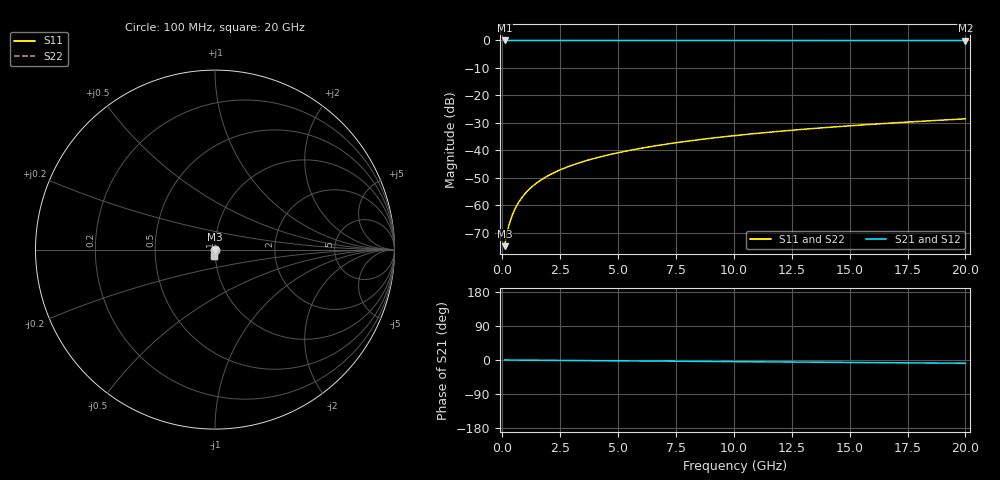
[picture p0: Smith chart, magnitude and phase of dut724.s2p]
! Touchstone file exported from HFSS 2026.1.0
!  File:  C:/ffzhzh/LocalFiles/Ansys_Project_Files/temp_train_TSV_724_1783182363_18472.aedt
!  Generated:  12:27:24 AM Jul  5, 2026
!  Design:  TSV
!  Project:  temp_train_TSV_724_1783182363_18472
! Variables:
!  h_bsmrdl = 2um
!  h_ox = 20um
!  h_rdl = 5um
!  h_sub = 86.61um
!  h_tmrdl = 5um
!  h_tsv = 86.61um
!  h_via = 3um
!  l_bsmrdl = 300um
!  l_sub = 422.64um
!  l_tmrdl = 200um
!  m_sub = 200um
!  pitch = 36.03um
!  r_tsv = 11.32um
!  s_tmrdl = 10um
!  w_bsmrdl = 18um
!  w_sub = 500um
!  w_tmrdl = 12um
!  x_tsv_center1 = 206um
!  x_tsv_center2 = 524um
!  x_tsv_center3 = 736um
!  x_tsv_center4 = 1054um
!  x_tsv_center5 = 1266um
!  x_tsv_center6 = 1584um
# GHz S MA R 50.000000
! Terminal data exported
! Port[1] = TSV1_1_T1
! Port[2] = TSV1_1_T2
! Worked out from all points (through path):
!   200 points, 100 MHz to 20 GHz, reference 50 ohm
!   highest |S21| = 0.00 dB at 100 MHz (marker M1); lowest = 0.0 dB at 20 GHz (marker M2)
!   group delay of S21, straight-line fit = 1.18 ps
!   lowest |S11| = -74.8 dB at 100 MHz (marker M3), VSWR 1.00, Z = 50 - j0.0138 ohm
!   |S11| at or under -10 dB: start of sweep to end of sweep
!   |S22| runs from -74.8 to -28.5 dB; largest |S21 - S12| = 4.3e-15
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0.1  0.0001818 -49.5  0.9999 -0.0  0.9999 -0.0  0.0001818 -49.5
! Gamma 0 0 0 0
! Port Impedance 50 0 50 0
0.2  0.0003104 -64.6  0.9999 -0.1  0.9999 -0.1  0.0003104 -64.6
0.3  0.0004566 -70.1  0.9998 -0.1  0.9998 -0.1  0.0004566 -70.1
0.4  0.0006136 -72.8  0.9998 -0.2  0.9998 -0.2  0.0006136 -72.8
0.5  0.0007789 -74.5  0.9998 -0.2  0.9998 -0.2  0.0007789 -74.5
0.6  0.0009505 -75.7  0.9998 -0.3  0.9998 -0.3  0.0009505 -75.7
0.8  0.001306 -77.6  0.9997 -0.4  0.9997 -0.4  0.001306 -77.6
1.1  0.001854 -79.8  0.9997 -0.5  0.9997 -0.5  0.001854 -79.8
1.3  0.002223 -80.9  0.9996 -0.6  0.9996 -0.6  0.002223 -80.9
1.5  0.002592 -81.8  0.9996 -0.7  0.9996 -0.7  0.002592 -81.8
1.8  0.003146 -83.0  0.9996 -0.8  0.9996 -0.8  0.003146 -83.0
2.1  0.0037 -83.9  0.9995 -0.9  0.9995 -0.9  0.0037 -83.9
2.7  0.004808 -85.2  0.9995 -1.2  0.9995 -1.2  0.004808 -85.2
3.5  0.006291 -86.3  0.9994 -1.5  0.9994 -1.5  0.006291 -86.3
4.2  0.007595 -87.1  0.9994 -1.8  0.9994 -1.8  0.007595 -87.1
5  0.009093 -87.9  0.9993 -2.2  0.9993 -2.2  0.009093 -87.9
6.8  0.01249 -89.2  0.9991 -2.9  0.9991 -2.9  0.01249 -89.2
8.3  0.01533 -90.2  0.999 -3.6  0.999 -3.6  0.01533 -90.2
10.1  0.01875 -91.3  0.9988 -4.3  0.9988 -4.3  0.01875 -91.3
13.4  0.02502 -93.2  0.9986 -5.7  0.9986 -5.7  0.02502 -93.2
16.7  0.0313 -94.8  0.9983 -7.1  0.9983 -7.1  0.0313 -94.8
20  0.03758 -96.4  0.9979 -8.5  0.9979 -8.5  0.03758 -96.4
